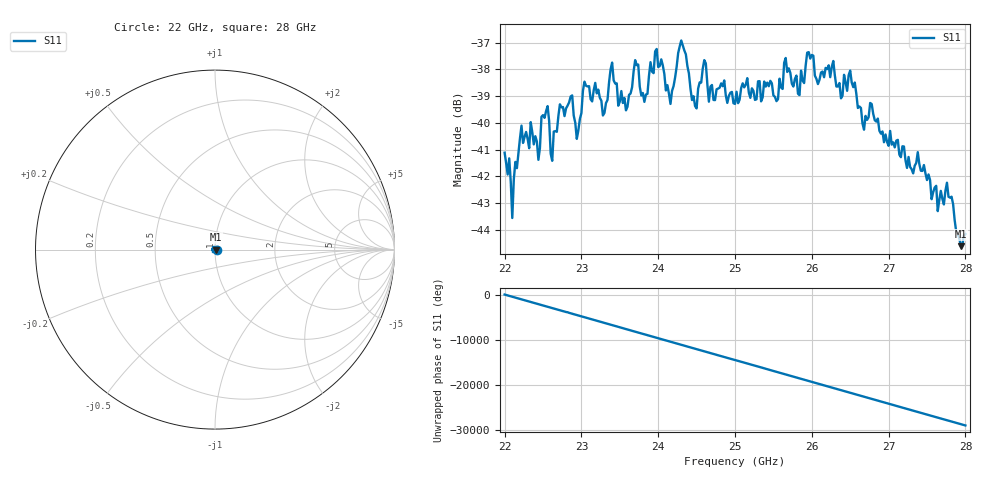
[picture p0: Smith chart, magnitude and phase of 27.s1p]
#  HZ  S  RI  R  50.00
! Rohde & Schwarz ZVA40 4Ports - Version 3.90 - 1145.1110k42 SN: 100403
! Date: 2023-10-04 07:26:59
! Measurement: S12
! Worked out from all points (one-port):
!   301 points, 22 GHz to 28 GHz, reference 50 ohm
!   lowest |S11| = -44.6 dB at 27.94 GHz (marker M1), VSWR 1.01, Z = 50.6 + j0.0306 ohm
!   |S11| at or under -10 dB: start of sweep to end of sweep
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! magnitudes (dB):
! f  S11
! 22 GHz  -41.1
! 22.06 GHz  -41.3
! 22.1 GHz  -43.6
! 22.22 GHz  -40.1
! 22.44 GHz  -41.4
! 22.56 GHz  -39.4
! 22.62 GHz  -41.4
! 22.76 GHz  -39.4
! 23.28 GHz  -39.7
! 23.4 GHz  -37.7
! 23.5 GHz  -39.2
! 23.7 GHz  -37.7
! 23.82 GHz  -39.2
! 23.98 GHz  -37.2
! 24.16 GHz  -39.3
! 24.26 GHz  -37.4
! 24.5 GHz  -39.5
! 24.6 GHz  -37.7
! 24.66 GHz  -39.2
! 25 GHz  -39.3
! 25.76 GHz  -38.6
! 26.5 GHz  -38.0
! 26.68 GHz  -40.3
! 27.26 GHz  -41.3
! 27.64 GHz  -43.3
! 27.76 GHz  -42.2
! 27.94 GHz  -44.6
! 28 GHz  -44.2
